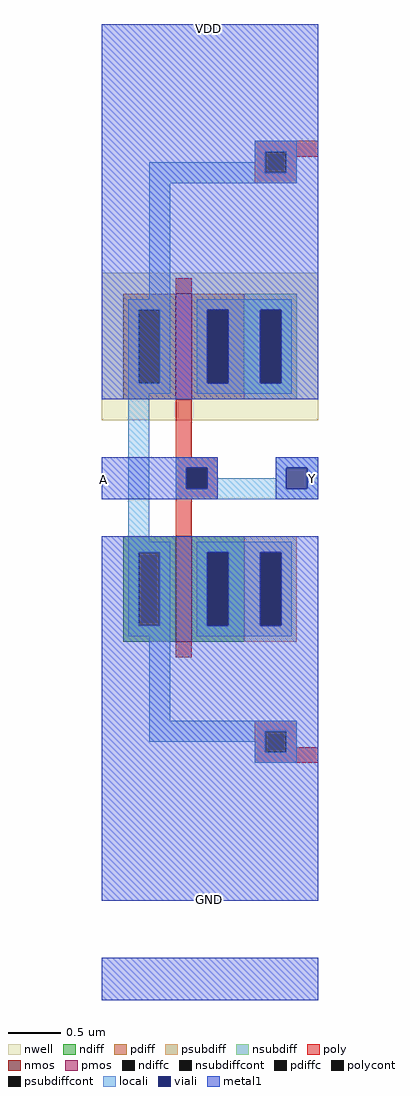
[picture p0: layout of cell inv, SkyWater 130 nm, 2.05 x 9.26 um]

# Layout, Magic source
magic
tech sky130A
<< nwell >>
rect -20 210 185 350
<< nmos >>
rect 50 0 65 100
<< pmos >>
rect 50 230 65 330
<< ndiff >>
rect 0 85 50 100
rect 0 15 15 85
rect 35 15 50 85
rect 0 0 50 15
rect 65 85 115 100
rect 65 15 80 85
rect 100 15 115 85
rect 65 0 115 15
<< pdiff >>
rect 0 315 50 330
rect 0 245 15 315
rect 35 245 50 315
rect 0 230 50 245
rect 65 315 115 330
rect 65 245 80 315
rect 100 245 115 315
rect 65 230 115 245
<< ndiffc >>
rect 15 15 35 85
rect 80 15 100 85
<< pdiffc >>
rect 15 245 35 315
rect 80 245 100 315
<< psubdiff >>
rect 115 85 165 100
rect 115 15 130 85
rect 150 15 165 85
rect 115 0 165 15
<< nsubdiff >>
rect 115 315 165 330
rect 115 245 130 315
rect 150 245 165 315
rect 115 230 165 245
<< psubdiffcont >>
rect 130 15 150 85
<< nsubdiffcont >>
rect 130 245 150 315
<< poly >>
rect 125 465 185 475
rect 125 445 135 465
rect 155 460 185 465
rect 155 445 165 460
rect 125 435 165 445
rect 50 330 65 345
rect 50 175 65 230
rect 50 165 90 175
rect 50 145 60 165
rect 80 145 90 165
rect 50 135 90 145
rect 50 100 65 135
rect 50 -15 65 0
rect 125 -85 165 -75
rect 125 -105 135 -85
rect 155 -100 165 -85
rect 155 -105 185 -100
rect 125 -115 185 -105
<< polycont >>
rect 135 445 155 465
rect 60 145 80 165
rect 135 -105 155 -85
<< locali >>
rect 125 465 165 475
rect 125 455 135 465
rect 25 445 135 455
rect 155 445 165 465
rect 25 435 165 445
rect 25 325 45 435
rect 5 315 45 325
rect 5 245 15 315
rect 35 245 45 315
rect 5 235 45 245
rect 70 315 160 325
rect 70 245 80 315
rect 100 245 130 315
rect 150 245 160 315
rect 70 235 160 245
rect 5 95 25 235
rect 50 165 90 175
rect 50 145 60 165
rect 80 155 90 165
rect 145 165 185 175
rect 145 155 155 165
rect 80 145 155 155
rect 175 145 185 165
rect 50 135 185 145
rect 5 85 45 95
rect 5 15 15 85
rect 35 15 45 85
rect 5 5 45 15
rect 70 85 160 95
rect 70 15 80 85
rect 100 15 130 85
rect 150 15 160 85
rect 70 5 160 15
rect 25 -75 45 5
rect 25 -85 165 -75
rect 25 -95 135 -85
rect 125 -105 135 -95
rect 155 -105 165 -85
rect 125 -115 165 -105
<< viali >>
rect 80 245 100 315
rect 130 245 150 315
rect 60 145 80 165
rect 155 145 175 165
rect 80 15 100 85
rect 130 15 150 85
<< metal1 >>
rect -20 315 185 586
rect -20 245 80 315
rect 100 245 130 315
rect 150 245 185 315
rect -20 230 185 245
rect -20 165 90 175
rect -20 145 60 165
rect 80 145 90 165
rect -20 135 90 145
rect 145 165 185 175
rect 145 145 155 165
rect 175 145 185 165
rect 145 135 185 145
rect -20 85 185 100
rect -20 15 80 85
rect 100 15 130 85
rect 150 15 185 85
rect -20 -246 185 15
rect -20 -340 185 -300
<< labels >>
rlabel metal1 81 582 81 582 1 VDD
rlabel metal1 82 -245 82 -245 1 GND
rlabel metal1 -19 154 -19 154 3 A
rlabel metal1 180 155 180 155 1 Y
<< end >>
